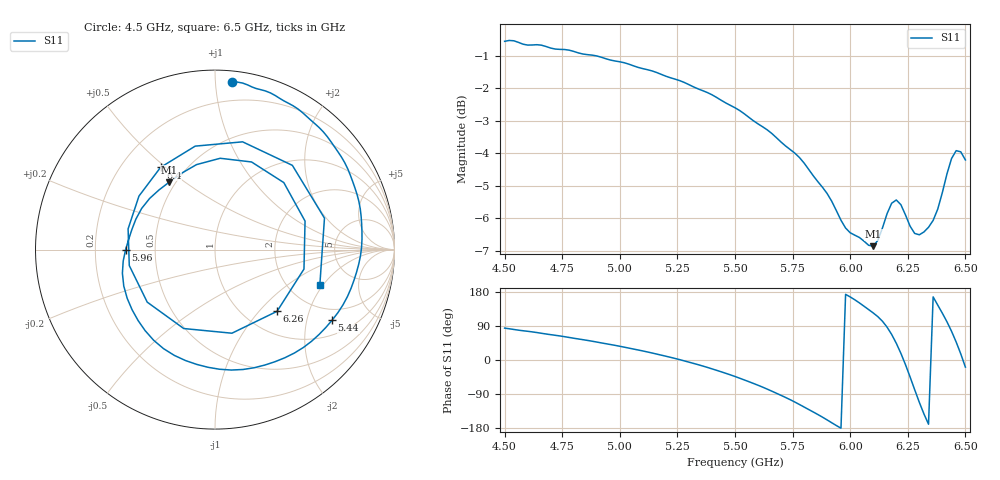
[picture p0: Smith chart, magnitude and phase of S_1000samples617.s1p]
! TOUCHSTONE file generated by CST MICROWAVE STUDIO
! Date and time: Fri Oct 28 19:07:58 2022
! Project name: L.cst
! Parameters = {Di=1.27; Epsilon_r=1.56; InnerDiameter=1.27; Length=2; Lf=10; Lg=60; OuterConductorThickness=0.2921; OuterDiameter=3.6; Wf=3; Wp=41.2; de=1.5; df=6.8; g=0.8; gx=3.22251; gy=2.55236; h=2.34; hf=1.524; px=10.8327; py=13.4849; w=9.7; wx=7.61014; wy=10.9325}
! Header version: 2018
! Port assignment regex: !\s*Touchstone port\s*([0-9]+)\s*=\s*(CST MWS port|CST DS port)\s*([0-9]+|Zmin|Zmax)\s*\(\"(.*)\"\)(\s*mode\s*([0-9]+))?.*
! Touchstone port assignment:
! Touchstone port 1 = CST MWS port 1 ("")
# GHz S DB R 50
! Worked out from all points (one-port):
!   101 points, 4.5 GHz to 6.5 GHz, reference 50 ohm
!   lowest |S11| = -6.9 dB at 6.1 GHz (marker M1), VSWR 2.67, Z = 23.1 + j21.9 ohm
!   |S11| at or under -10 dB: nowhere
!   S11 on the Smith chart (normalised r, x): 4.5 GHz: 0.07, +1.11; 5.44 GHz: 1.52, -2.85; 5.96 GHz: 0.34, -0.00; 6.26 GHz: 1.40, -1.26; 6.4 GHz: 0.37, +0.48; 6.5 GHz: 2.92, -1.87
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4.5  -0.55 84.1
4.76  -0.80 61.5
5  -1.18 36.2
5.26  -1.76 0.9
5.44  -2.36 -31.1
5.5  -2.59 -43.5
5.64  -3.27 -76.9
5.76  -3.99 -111.0
5.88  -5.04 -150.9
5.96  -6.06 -180.0
6  -6.44 166.4
6.1  -6.85 124.2
6.14  -6.29 102.3
6.18  -5.53 67.4
6.2  -5.43 44.2
6.22  -5.58 17.6
6.24  -5.89 -12.3
6.26  -6.24 -44.8
6.28  -6.46 -78.6
6.3  -6.50 -111.6
6.32  -6.42 -142.2
6.34  -6.27 -169.5
6.36  -6.06 166.6
6.4  -5.20 123.5
6.44  -4.15 75.6
6.46  -3.91 47.4
6.48  -3.95 16.0
6.5  -4.20 -18.7
